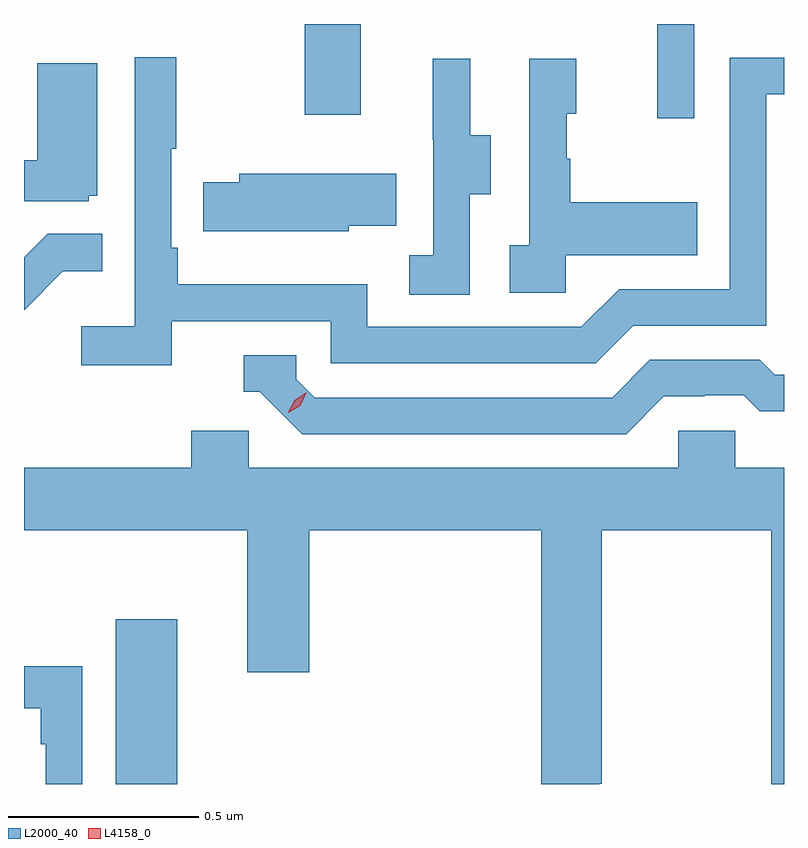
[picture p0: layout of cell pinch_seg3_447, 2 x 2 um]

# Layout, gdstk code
import gdstk
lib = gdstk.Library(unit=1e-6, precision=1e-09)
def R(c, l, rs):  # rectangles x0, y0, x1, y1
    for r in rs: c.add(gdstk.rectangle(r[:2], r[2:], *l))
def P(c, l, *ps):  # polygons
    for p in ps: c.add(gdstk.Polygon(p, *l))
L2000_40 = (2000, 40)
L4158_0 = (4158, 0)

pinch_seg3_447 = lib.new_cell('pinch_seg3_447')
R(pinch_seg3_447, L2000_40, [(943.883,676.272,944.044,676.705), (945.308,678.024,945.405,678.272), (944.38,678.033,944.527,678.272)])
P(pinch_seg3_447, L2000_40, [(944.03,677.49),(944.448,677.49),(944.448,677.379),(945.145,677.379),(945.244,677.478),(945.594,677.478),(945.594,678.087),(945.641,678.087),(945.641,678.183),(945.498,678.183),(945.498,677.574),(945.207,677.574),(945.108,677.475),(944.544,677.475),(944.544,677.587),(944.045,677.587),(944.045,677.683),(944.028,677.683),(944.028,677.944),(944.041,677.944),(944.041,678.184),(943.932,678.184),(943.932,677.476),(943.791,677.476),(943.791,677.374),(944.03,677.374)],
  [(944.814,677.824),(944.869,677.824),(944.869,677.979),(944.815,677.979),(944.815,678.181),(944.717,678.181),(944.717,677.967),(944.718,677.967),(944.718,677.663),(944.655,677.663),(944.655,677.56),(944.814,677.56)],
  [(945.066,677.663),(945.413,677.663),(945.413,677.803),(945.079,677.803),(945.079,677.918),(945.069,677.918),(945.069,678.036),(945.094,678.036),(945.094,678.181),(944.97,678.181),(944.97,677.69),(944.919,677.69),(944.919,677.565),(945.066,677.565)],
  [(943.812,677.82),(943.834,677.82),(943.834,678.169),(943.676,678.169),(943.676,677.914),(943.641,677.914),(943.641,677.805),(943.812,677.805)],
  [(944.496,677.741),(944.621,677.741),(944.621,677.878),(944.207,677.878),(944.207,677.856),(944.113,677.856),(944.113,677.727),(944.224,677.727),(944.224,677.726),(944.496,677.726)],
  [(943.743,677.621),(943.847,677.621),(943.847,677.72),(943.703,677.72),(943.641,677.658),(943.641,677.519)],
  [(945.325,677.292),(945.432,677.292),(945.432,677.295),(945.535,677.295),(945.577,677.253),(945.641,677.253),(945.641,677.349),(945.616,677.349),(945.577,677.388),(945.288,677.388),(945.189,677.289),(944.406,677.289),(944.358,677.337),(944.358,677.4),(944.219,677.4),(944.219,677.304),(944.262,677.304),(944.373,677.193),(945.226,677.193)],
  [(945.155,676.273),(945.162,676.273),(945.162,676.94),(945.607,676.94),(945.607,676.273),(945.609,676.273),(945.609,676.272),(945.641,676.272),(945.641,677.104),(945.513,677.104),(945.513,677.202),(945.363,677.202),(945.363,677.104),(944.232,677.104),(944.232,677.202),(944.081,677.202),(944.081,677.104),(943.641,677.104),(943.641,676.94),(944.228,676.94),(944.228,676.566),(944.392,676.566),(944.392,676.94),(945.002,676.94),(945.002,676.272),(945.155,676.272)],
  [(943.794,676.582),(943.641,676.582),(943.641,676.472),(943.685,676.472),(943.685,676.376),(943.698,676.376),(943.698,676.272),(943.794,676.272)])
P(pinch_seg3_447, L4158_0, [(944.337,677.249),(944.337,677.25),(944.353,677.282),(944.383,677.301),(944.384,677.301),(944.384,677.301),(944.368,677.268),(944.337,677.249)])

lib.write_gds('pinch_seg3_447.gds')
